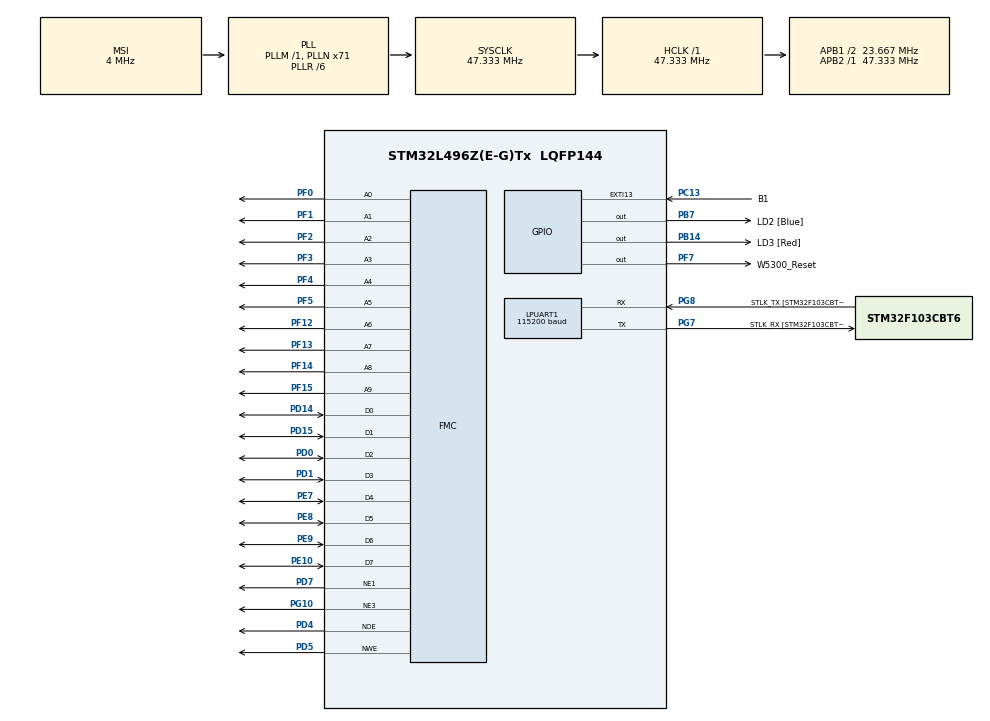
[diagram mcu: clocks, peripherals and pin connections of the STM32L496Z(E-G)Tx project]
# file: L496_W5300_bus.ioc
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FMC.WriteOperation1=FMC_WRITE_OPERATION_ENABLE
FMC.WriteOperation2=FMC_WRITE_OPERATION_ENABLE
LPUART1.BaudRate=115200
LPUART1.WordLength=UART_WORDLENGTH_8B
Mcu.Family=STM32L4
Mcu.Name=STM32L496Z(E-G)Tx
Mcu.Package=LQFP144
NVIC.LPUART1_IRQn=true\:0\:0\:false\:false\:true\:true\:true\:true
NVIC.PriorityGroup=NVIC_PRIORITYGROUP_4
PA13\ (JTMS/SWDIO).GPIO_Label=TMS
PA13\ (JTMS/SWDIO).Mode=Trace_Asynchronous_SW
PA13\ (JTMS/SWDIO).Signal=SYS_JTMS-SWDIO
PA14\ (JTCK/SWCLK).GPIO_Label=TCK
PA14\ (JTCK/SWCLK).Mode=Trace_Asynchronous_SW
PA14\ (JTCK/SWCLK).Signal=SYS_JTCK-SWCLK
PB14.GPIO_Label=LD3 [Red]
PB14.Signal=GPIO_Output
PB3\ (JTDO/TRACESWO).GPIO_Label=SWO
PB3\ (JTDO/TRACESWO).Mode=Trace_Asynchronous_SW
PB3\ (JTDO/TRACESWO).Signal=SYS_JTDO-SWO
PB7.GPIO_Label=LD2 [Blue]
PB7.Signal=GPIO_Output
PC13.GPIO_Label=B1
PC13.Signal=GPXTI13
PC14-OSC32_IN\ (PC14).Mode=LSE-External-Oscillator
PC14-OSC32_IN\ (PC14).Signal=RCC_OSC32_IN
PC15-OSC32_OUT\ (PC15).Mode=LSE-External-Oscillator
PC15-OSC32_OUT\ (PC15).Signal=RCC_OSC32_OUT
PD0.Signal=FMC_D2_DA2
PD1.Signal=FMC_D3_DA3
PD14.Signal=FMC_D0_DA0
PD15.Signal=FMC_D1_DA1
PD4.Signal=FMC_NOE
PD5.Signal=FMC_NWE
PD7.Mode=NorPsramChipSelect1_1
PD7.Signal=FMC_NE1
PE10.Signal=FMC_D7_DA7
PE7.Signal=FMC_D4_DA4
PE8.Signal=FMC_D5_DA5
PE9.Signal=FMC_D6_DA6
PF0.Signal=FMC_A0
PF1.Signal=FMC_A1
PF12.Signal=FMC_A6
PF13.Signal=FMC_A7
PF14.Signal=FMC_A8
PF15.Signal=FMC_A9
PF2.Signal=FMC_A2
PF3.Signal=FMC_A3
PF4.Signal=FMC_A4
PF5.Signal=FMC_A5
PF7.GPIO_Label=W5300_Reset
PF7.GPIO_ModeDefaultOutputPP=GPIO_MODE_OUTPUT_PP
PF7.GPIO_PuPd=GPIO_PULLUP
PF7.PinState=GPIO_PIN_SET
PF7.Signal=GPIO_Output
PG10.Mode=NorPsramChipSelect3_2
PG10.Signal=FMC_NE3
PG7.GPIO_Label=STLK_RX [STM32F103CBT6_PA3]
PG7.Mode=Asynchronous
PG7.Signal=LPUART1_TX
PG8.GPIO_Label=STLK_TX [STM32F103CBT6_PA2]
PG8.Mode=Asynchronous
PG8.Signal=LPUART1_RX
PH1-OSC_OUT\ (PH1).Signal=RCC_OSC_OUT
ProjectManager.HeapSize=0x200
ProjectManager.StackSize=0x400
ProjectManager.TargetToolchain=STM32CubeIDE
RCC.48MHZClocksFreq_Value=24000000
RCC.ADCFreq_Value=48000000
RCC.AHBFreq_Value=47333333.333333336
RCC.APB1CLKDivider=RCC_HCLK_DIV2
RCC.APB1Freq_Value=23666666.666666668
RCC.APB1TimFreq_Value=47333333.333333336
RCC.APB2Freq_Value=47333333.333333336
RCC.APB2TimFreq_Value=47333333.333333336
RCC.CortexFreq_Value=47333333.333333336
RCC.HCLKFreq_Value=47333333.333333336
RCC.HSE_VALUE=8000000
RCC.HSI48_VALUE=48000000
RCC.HSI_VALUE=16000000
RCC.MSI_VALUE=4000000
RCC.PLLMUL=RCC_PLL_MUL9
RCC.PLLN=71
RCC.PLLR=RCC_PLLR_DIV6
RCC.PLLSAI1N=24
RCC.PRESCALERUSB=RCC_USBCLKSOURCE_PLL_DIV1_5
RCC.SYSCLKFreq_VALUE=47333333.333333336
RCC.SYSCLKSource=RCC_SYSCLKSOURCE_PLLCLK
RCC.SYSCLKSourceVirtual=RCC_SYSCLKSOURCE_PLLCLK
RCC.USBFreq_Value=48000000
RCC.VCOOutputFreq_Value=284000000
SH.FMC_A0.0=FMC_A0,10b-a1
SH.FMC_A0.1=FMC_A0,10b-a2
SH.FMC_A1.0=FMC_A1,10b-a1
SH.FMC_A1.1=FMC_A1,10b-a2
SH.FMC_A2.0=FMC_A2,10b-a1
SH.FMC_A2.1=FMC_A2,10b-a2
SH.FMC_A3.0=FMC_A3,10b-a1
SH.FMC_A3.1=FMC_A3,10b-a2
SH.FMC_A4.0=FMC_A4,10b-a1
SH.FMC_A4.1=FMC_A4,10b-a2
SH.FMC_A5.0=FMC_A5,10b-a1
SH.FMC_A5.1=FMC_A5,10b-a2
SH.FMC_A6.0=FMC_A6,10b-a1
SH.FMC_A6.1=FMC_A6,10b-a2
SH.FMC_A7.0=FMC_A7,10b-a1
SH.FMC_A7.1=FMC_A7,10b-a2
SH.FMC_A8.0=FMC_A8,10b-a1
SH.FMC_A8.1=FMC_A8,10b-a2
SH.FMC_A9.0=FMC_A9,10b-a1
SH.FMC_A9.1=FMC_A9,10b-a2
SH.FMC_D0_DA0.0=FMC_D0,8b-d1
SH.FMC_D0_DA0.1=FMC_D0,8b-d2
SH.FMC_D1_DA1.0=FMC_D1,8b-d1
SH.FMC_D1_DA1.1=FMC_D1,8b-d2
SH.FMC_D2_DA2.0=FMC_D2,8b-d1
SH.FMC_D2_DA2.1=FMC_D2,8b-d2
SH.FMC_D3_DA3.0=FMC_D3,8b-d1
SH.FMC_D3_DA3.1=FMC_D3,8b-d2
SH.FMC_D4_DA4.0=FMC_D4,8b-d1
SH.FMC_D4_DA4.1=FMC_D4,8b-d2
SH.FMC_D5_DA5.0=FMC_D5,8b-d1
SH.FMC_D5_DA5.1=FMC_D5,8b-d2
SH.FMC_D6_DA6.0=FMC_D6,8b-d1
SH.FMC_D6_DA6.1=FMC_D6,8b-d2
SH.FMC_D7_DA7.0=FMC_D7,8b-d1
SH.FMC_D7_DA7.1=FMC_D7,8b-d2
SH.FMC_NOE.0=FMC_NOE,Sram1
SH.FMC_NOE.1=FMC_NOE,Sram2
SH.FMC_NWE.0=FMC_NWE,Sram1
SH.FMC_NWE.1=FMC_NWE,Sram2
board=NUCLEO-L496ZG

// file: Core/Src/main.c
/* USER CODE BEGIN Header */
/**
  ******************************************************************************
  * @file           : main.c
  * @brief          : Main program body
  ******************************************************************************
  * @attention
  *
  * Copyright (c) 2022 STMicroelectronics.
  * All rights reserved.
  *
  * This software is licensed under terms that can be found in the LICENSE file
  * in the root directory of this software component.
  * If no LICENSE file comes with this software, it is provided AS-IS.
  *
  ******************************************************************************
  */
/* USER CODE END Header */
#include "main.h"

/* USER CODE BEGIN Includes */

#include "socket.h"
#include "wizchip_conf.h"
#include "w5300.h"
/* USER CODE END Includes */

/* USER CODE BEGIN PTD */

#define RESET_W5300_GPIO_Port			GPIOF
#define RESET_W5300_Pin					GPIO_PIN_7

#define true					1
#define false					0

#define SOCK_TCPS       0
#define SOCK_UDPS       1
#define PORT_TCPS		5000
#define PORT_UDPS       3000
/* USER CODE END PTD */

UART_HandleTypeDef hlpuart1;

SRAM_HandleTypeDef hsram1;
SRAM_HandleTypeDef hsram2;

/* USER CODE BEGIN PV */
uint8_t wiznet_memsize[2][8] = {{8,8,8,8,8,8,8,8}, {8,8,8,8,8,8,8,8}};

#define ETH_MAX_BUF_SIZE		2048

uint8_t ethBuf[4][ETH_MAX_BUF_SIZE];

wiz_NetInfo gWIZNETINFO1 = {
		.mac = {0x00, 0x08, 0xdc, 0, 0, 1},
		.ip = {192, 168, 15, 111},
		.sn = {255, 255, 255, 0},
		.gw = {192, 168, 15, 1},
		.dns = {0, 0, 0, 0},
		.dhcp = NETINFO_STATIC
};
wiz_NetInfo gWIZNETINFO2 = {
		.mac = {0x00, 0x08, 0xdc, 0, 0, 2},
		.ip = {192, 168, 15, 112},
		.sn = {255, 255, 255, 0},
		.gw = {192, 168, 15, 1},
		.dns = {0, 0, 0, 0},
		.dhcp = NETINFO_STATIC
};

/* USER CODE END PV */

void SystemClock_Config(void);
static void MX_GPIO_Init(void);
static void MX_LPUART1_UART_Init(void);
static void MX_FMC_Init(void);
/* USER CODE BEGIN PFP */
uint8_t rxData[2];

int _write(int fd, char *str, int len)
{
	for(int i=0; i<len; i++)
	{
		HAL_UART_Transmit(&hlpuart1, (uint8_t *)&str[i], 1, 0xFFFF);
	}
	return len;
}

void HAL_UART_RxCpltCallback(UART_HandleTypeDef *huart) {

    /*
        This will be called once data is received successfully,
        via interrupts.
    */

     /*
       loop back received data
     */
     HAL_UART_Receive_IT(&hlpuart1, rxData, 1);
     HAL_UART_Transmit(&hlpuart1, rxData, 1, 1000);
}
void Reset_W5300()
{
	HAL_GPIO_WritePin(RESET_W5300_GPIO_Port, RESET_W5300_Pin, GPIO_PIN_RESET);
	HAL_Delay(100);
	HAL_GPIO_WritePin(RESET_W5300_GPIO_Port, RESET_W5300_Pin, GPIO_PIN_SET);
	HAL_Delay(1000);
}
#if 0
void W5300_write(uint32_t addr, iodata_t wd)
{
	_W5300_DATA(addr) = wd;
}

iodata_t W5300_read(uint32_t addr)
{
	return _W5300_DATA(addr);
}
#endif
void W5300_write(uint32_t ChipAddr, uint32_t addr, iodata_t wd)
{
	_W5300_DATA(ChipAddr, addr) = wd;
}

iodata_t W5300_read(uint32_t ChipAddr, uint32_t addr)
{
	return _W5300_DATA(ChipAddr, addr);
}
void W5300CsEnable(void)
{

}
void W5300CsDisable(void)
{

}
void print_network_information(void)
{
#if CHIP1
    wizchip_getnetinfo(W5300_BANK_ADDR1, &gWIZNETINFO1);
    printf("Mac address: %02x:%02x:%02x:%02x:%02x:%02x\n\r",gWIZNETINFO1.mac[0],gWIZNETINFO1.mac[1],gWIZNETINFO1.mac[2],gWIZNETINFO1.mac[3],gWIZNETINFO1.mac[4],gWIZNETINFO1.mac[5]);
    printf("IP address : %d.%d.%d.%d\n\r",gWIZNETINFO1.ip[0],gWIZNETINFO1.ip[1],gWIZNETINFO1.ip[2],gWIZNETINFO1.ip[3]);
    printf("SM Mask    : %d.%d.%d.%d\n\r",gWIZNETINFO1.sn[0],gWIZNETINFO1.sn[1],gWIZNETINFO1.sn[2],gWIZNETINFO1.sn[3]);
    printf("Gate way   : %d.%d.%d.%d\n\r",gWIZNETINFO1.gw[0],gWIZNETINFO1.gw[1],gWIZNETINFO1.gw[2],gWIZNETINFO1.gw[3]);
    printf("DNS Server : %d.%d.%d.%d\n\r",gWIZNETINFO1.dns[0],gWIZNETINFO1.dns[1],gWIZNETINFO1.dns[2],gWIZNETINFO1.dns[3]);
#endif
    wizchip_getnetinfo(W5300_BANK_ADDR3, &gWIZNETINFO2);
	printf("Mac address: %02x:%02x:%02x:%02x:%02x:%02x\n\r",gWIZNETINFO2.mac[0],gWIZNETINFO2.mac[1],gWIZNETINFO2.mac[2],gWIZNETINFO2.mac[3],gWIZNETINFO2.mac[4],gWIZNETINFO2.mac[5]);
	printf("IP address : %d.%d.%d.%d\n\r",gWIZNETINFO2.ip[0],gWIZNETINFO2.ip[1],gWIZNETINFO2.ip[2],gWIZNETINFO2.ip[3]);
	printf("SM Mask    : %d.%d.%d.%d\n\r",gWIZNETINFO2.sn[0],gWIZNETINFO2.sn[1],gWIZNETINFO2.sn[2],gWIZNETINFO2.sn[3]);
	printf("Gate way   : %d.%d.%d.%d\n\r",gWIZNETINFO2.gw[0],gWIZNETINFO2.gw[1],gWIZNETINFO2.gw[2],gWIZNETINFO2.gw[3]);
	printf("DNS Server : %d.%d.%d.%d\n\r",gWIZNETINFO2.dns[0],gWIZNETINFO2.dns[1],gWIZNETINFO2.dns[2],gWIZNETINFO2.dns[3]);
}

void _InitW5300(void)
{
	unsigned int tmpaddr[4];

	Reset_W5300();
	//reg_wizchip_bus_cbfunc(W5300_read, W5300_write);
	//reg_wizchip_cs_cbfunc(W5300CsEnable, W5300CsDisable);
	//setMR(W5300_BANK_ADDR1,0xB800);
#if CHIP1
	printf("getMR(0x%x) = %04X\r\n",W5300_BANK_ADDR1,  getMR(W5300_BANK_ADDR1));
	HAL_Delay(100);
#endif
	printf("getMR(0x%x) = %04X\r\n",W5300_BANK_ADDR3,  getMR(W5300_BANK_ADDR3));
	HAL_Delay(100);

#if CHIP1
	if (ctlwizchip(W5300_BANK_ADDR1, CW_INIT_WIZCHIP, (void*)wiznet_memsize) == -1)
	{
		printf("W5300 memory initialization failed\r\n");
	}
	HAL_Delay(100);
#endif
	if (ctlwizchip(W5300_BANK_ADDR3, CW_INIT_WIZCHIP, (void*)wiznet_memsize) == -1)
	{
		printf("W5300 memory initialization failed\r\n");
	}
	HAL_Delay(100);

#if CHIP1
	ctlnetwork(W5300_BANK_ADDR1, CN_SET_NETINFO, (void *)&gWIZNETINFO1);
	HAL_Delay(100);
#endif
	ctlnetwork(W5300_BANK_ADDR3, CN_SET_NETINFO, (void *)&gWIZNETINFO2);
	HAL_Delay(100);
	print_network_information();
}
/* USER CODE END PFP */

int main(void)
{

  /* MCU Configuration--------------------------------------------------------*/

  /* Reset of all peripherals, Initializes the Flash interface and the Systick. */
  HAL_Init();

  /* Configure the system clock */
  SystemClock_Config();

  /* Initialize all configured peripherals */
  MX_GPIO_Init();
  MX_LPUART1_UART_Init();
  MX_FMC_Init();
  /* USER CODE BEGIN 2 */
  printf("Hello! W5300 BUS loopback System \r\n");
  HAL_UART_Receive_IT(&hlpuart1, rxData, 1);

  _InitW5300();
  /* USER CODE END 2 */

  /* Infinite loop */
  /* USER CODE BEGIN WHILE */
  uint8_t host_ip[4] = {192,168,0,69};
  while (1)
  {
  #if 1
  // tcp
  #if 0
  // server
        loopback_tcps(W5300_BANK_ADDR1, 0, ethBuf[0], 3000);
        loopback_tcps(W5300_BANK_ADDR3, 0, ethBuf[1], 3001);
  #else
  // client
        //loopback_tcpc(W5300_BANK_ADDR1, 0, ethBuf[0], host_ip, 3030);
        loopback_tcpc(W5300_BANK_ADDR3, 0, ethBuf[1], host_ip, 3030);
  #endif
  #else
  // udp
        loopback_udps(W5300_BANK_ADDR1, 0, ethBuf[0], 3000);
        loopback_udps(W5300_BANK_ADDR3, 0, ethBuf[1], 3001);
  #endif
    /* USER CODE END WHILE */

  }
}

void SystemClock_Config(void)
{
  RCC_OscInitTypeDef RCC_OscInitStruct = {0};
  RCC_ClkInitTypeDef RCC_ClkInitStruct = {0};

  /** Configure the main internal regulator output voltage
  */
  if (HAL_PWREx_ControlVoltageScaling(PWR_REGULATOR_VOLTAGE_SCALE1) != HAL_OK)
  {
    Error_Handler();
  }

  /** Initializes the RCC Oscillators according to the specified parameters
  * in the RCC_OscInitTypeDef structure.
  */
  RCC_OscInitStruct.OscillatorType = RCC_OSCILLATORTYPE_MSI;
  RCC_OscInitStruct.MSIState = RCC_MSI_ON;
  RCC_OscInitStruct.MSICalibrationValue = 0;
  RCC_OscInitStruct.MSIClockRange = RCC_MSIRANGE_6;
  RCC_OscInitStruct.PLL.PLLState = RCC_PLL_ON;
  RCC_OscInitStruct.PLL.PLLSource = RCC_PLLSOURCE_MSI;
  RCC_OscInitStruct.PLL.PLLM = 1;
  RCC_OscInitStruct.PLL.PLLN = 71;
  RCC_OscInitStruct.PLL.PLLP = RCC_PLLP_DIV2;
  RCC_OscInitStruct.PLL.PLLQ = RCC_PLLQ_DIV2;
  RCC_OscInitStruct.PLL.PLLR = RCC_PLLR_DIV6;
  if (HAL_RCC_OscConfig(&RCC_OscInitStruct) != HAL_OK)
  {
    Error_Handler();
  }

  /** Initializes the CPU, AHB and APB buses clocks
  */
  RCC_ClkInitStruct.ClockType = RCC_CLOCKTYPE_HCLK|RCC_CLOCKTYPE_SYSCLK
                              |RCC_CLOCKTYPE_PCLK1|RCC_CLOCKTYPE_PCLK2;
  RCC_ClkInitStruct.SYSCLKSource = RCC_SYSCLKSOURCE_PLLCLK;
  RCC_ClkInitStruct.AHBCLKDivider = RCC_SYSCLK_DIV1;
  RCC_ClkInitStruct.APB1CLKDivider = RCC_HCLK_DIV2;
  RCC_ClkInitStruct.APB2CLKDivider = RCC_HCLK_DIV1;

  if (HAL_RCC_ClockConfig(&RCC_ClkInitStruct, FLASH_LATENCY_2) != HAL_OK)
  {
    Error_Handler();
  }
}

static void MX_LPUART1_UART_Init(void)
{

  hlpuart1.Instance = LPUART1;
  hlpuart1.Init.BaudRate = 115200;
  hlpuart1.Init.WordLength = UART_WORDLENGTH_8B;
  hlpuart1.Init.StopBits = UART_STOPBITS_1;
  hlpuart1.Init.Parity = UART_PARITY_NONE;
  hlpuart1.Init.Mode = UART_MODE_TX_RX;
  hlpuart1.Init.HwFlowCtl = UART_HWCONTROL_NONE;
  hlpuart1.Init.OneBitSampling = UART_ONE_BIT_SAMPLE_DISABLE;
  hlpuart1.AdvancedInit.AdvFeatureInit = UART_ADVFEATURE_NO_INIT;
  if (HAL_UART_Init(&hlpuart1) != HAL_OK)
  {
    Error_Handler();
  }

}

/* FMC initialization function */
static void MX_FMC_Init(void)
{

  FMC_NORSRAM_TimingTypeDef Timing = {0};

  /** Perform the SRAM1 memory initialization sequence
  */
  hsram1.Instance = FMC_NORSRAM_DEVICE;
  hsram1.Extended = FMC_NORSRAM_EXTENDED_DEVICE;
  /* hsram1.Init */
  hsram1.Init.NSBank = FMC_NORSRAM_BANK1;
  hsram1.Init.DataAddressMux = FMC_DATA_ADDRESS_MUX_DISABLE;
  hsram1.Init.MemoryType = FMC_MEMORY_TYPE_SRAM;
  hsram1.Init.MemoryDataWidth = FMC_NORSRAM_MEM_BUS_WIDTH_8;
  hsram1.Init.BurstAccessMode = FMC_BURST_ACCESS_MODE_DISABLE;
  hsram1.Init.WaitSignalPolarity = FMC_WAIT_SIGNAL_POLARITY_LOW;
  hsram1.Init.WaitSignalActive = FMC_WAIT_TIMING_BEFORE_WS;
  hsram1.Init.WriteOperation = FMC_WRITE_OPERATION_ENABLE;
  hsram1.Init.WaitSignal = FMC_WAIT_SIGNAL_DISABLE;
  hsram1.Init.ExtendedMode = FMC_EXTENDED_MODE_DISABLE;
  hsram1.Init.AsynchronousWait = FMC_ASYNCHRONOUS_WAIT_DISABLE;
  hsram1.Init.WriteBurst = FMC_WRITE_BURST_DISABLE;
  hsram1.Init.ContinuousClock = FMC_CONTINUOUS_CLOCK_SYNC_ONLY;
  hsram1.Init.WriteFifo = FMC_WRITE_FIFO_ENABLE;
  hsram1.Init.PageSize = FMC_PAGE_SIZE_NONE;
  /* Timing */
  Timing.AddressSetupTime = 15;
  Timing.AddressHoldTime = 15;
  Timing.DataSetupTime = 255;
  Timing.BusTurnAroundDuration = 15;
  Timing.CLKDivision = 16;
  Timing.DataLatency = 17;
  Timing.AccessMode = FMC_ACCESS_MODE_A;
  /* ExtTiming */

  if (HAL_SRAM_Init(&hsram1, &Timing, NULL) != HAL_OK)
  {
    Error_Handler( );
  }

  /** Perform the SRAM2 memory initialization sequence
  */
  hsram2.Instance = FMC_NORSRAM_DEVICE;
  hsram2.Extended = FMC_NORSRAM_EXTENDED_DEVICE;
  /* hsram2.Init */
  hsram2.Init.NSBank = FMC_NORSRAM_BANK3;
  hsram2.Init.DataAddressMux = FMC_DATA_ADDRESS_MUX_DISABLE;
  hsram2.Init.MemoryType = FMC_MEMORY_TYPE_SRAM;
  hsram2.Init.MemoryDataWidth = FMC_NORSRAM_MEM_BUS_WIDTH_8;
  hsram2.Init.BurstAccessMode = FMC_BURST_ACCESS_MODE_DISABLE;
  hsram2.Init.WaitSignalPolarity = FMC_WAIT_SIGNAL_POLARITY_LOW;
  hsram2.Init.WaitSignalActive = FMC_WAIT_TIMING_BEFORE_WS;
  hsram2.Init.WriteOperation = FMC_WRITE_OPERATION_ENABLE;
  hsram2.Init.WaitSignal = FMC_WAIT_SIGNAL_DISABLE;
  hsram2.Init.ExtendedMode = FMC_EXTENDED_MODE_DISABLE;
  hsram2.Init.AsynchronousWait = FMC_ASYNCHRONOUS_WAIT_DISABLE;
  hsram2.Init.WriteBurst = FMC_WRITE_BURST_DISABLE;
  hsram2.Init.ContinuousClock = FMC_CONTINUOUS_CLOCK_SYNC_ONLY;
  hsram2.Init.WriteFifo = FMC_WRITE_FIFO_ENABLE;
  hsram2.Init.PageSize = FMC_PAGE_SIZE_NONE;
  /* Timing */
  Timing.AddressSetupTime = 15;
  Timing.AddressHoldTime = 15;
  Timing.DataSetupTime = 255;
  Timing.BusTurnAroundDuration = 15;
  Timing.CLKDivision = 16;
  Timing.DataLatency = 17;
  Timing.AccessMode = FMC_ACCESS_MODE_A;
  /* ExtTiming */

  if (HAL_SRAM_Init(&hsram2, &Timing, NULL) != HAL_OK)
  {
    Error_Handler( );
  }

}

static void MX_GPIO_Init(void)
{
  GPIO_InitTypeDef GPIO_InitStruct = {0};

  /* GPIO Ports Clock Enable */
  __HAL_RCC_GPIOC_CLK_ENABLE();
  __HAL_RCC_GPIOF_CLK_ENABLE();
  __HAL_RCC_GPIOH_CLK_ENABLE();
  __HAL_RCC_GPIOE_CLK_ENABLE();
  __HAL_RCC_GPIOB_CLK_ENABLE();
  __HAL_RCC_GPIOD_CLK_ENABLE();
  __HAL_RCC_GPIOG_CLK_ENABLE();
  HAL_PWREx_EnableVddIO2();
  __HAL_RCC_GPIOA_CLK_ENABLE();

  /*Configure GPIO pin Output Level */
  HAL_GPIO_WritePin(W5300_Reset_GPIO_Port, W5300_Reset_Pin, GPIO_PIN_SET);

  /*Configure GPIO pin Output Level */
  HAL_GPIO_WritePin(GPIOB, LD3_Pin|LD2_Pin, GPIO_PIN_RESET);

  /*Configure GPIO pin : B1_Pin */
  GPIO_InitStruct.Pin = B1_Pin;
  GPIO_InitStruct.Mode = GPIO_MODE_IT_RISING;
  GPIO_InitStruct.Pull = GPIO_NOPULL;
  HAL_GPIO_Init(B1_GPIO_Port, &GPIO_InitStruct);

  /*Configure GPIO pin : W5300_Reset_Pin */
  GPIO_InitStruct.Pin = W5300_Reset_Pin;
  GPIO_InitStruct.Mode = GPIO_MODE_OUTPUT_PP;
  GPIO_InitStruct.Pull = GPIO_PULLUP;
  GPIO_InitStruct.Speed = GPIO_SPEED_FREQ_LOW;
  HAL_GPIO_Init(W5300_Reset_GPIO_Port, &GPIO_InitStruct);

  /*Configure GPIO pins : LD3_Pin LD2_Pin */
  GPIO_InitStruct.Pin = LD3_Pin|LD2_Pin;
  GPIO_InitStruct.Mode = GPIO_MODE_OUTPUT_PP;
  GPIO_InitStruct.Pull = GPIO_NOPULL;
  GPIO_InitStruct.Speed = GPIO_SPEED_FREQ_LOW;
  HAL_GPIO_Init(GPIOB, &GPIO_InitStruct);

}

void Error_Handler(void)
{
  __disable_irq();
  while (1)
  {
  }
}
